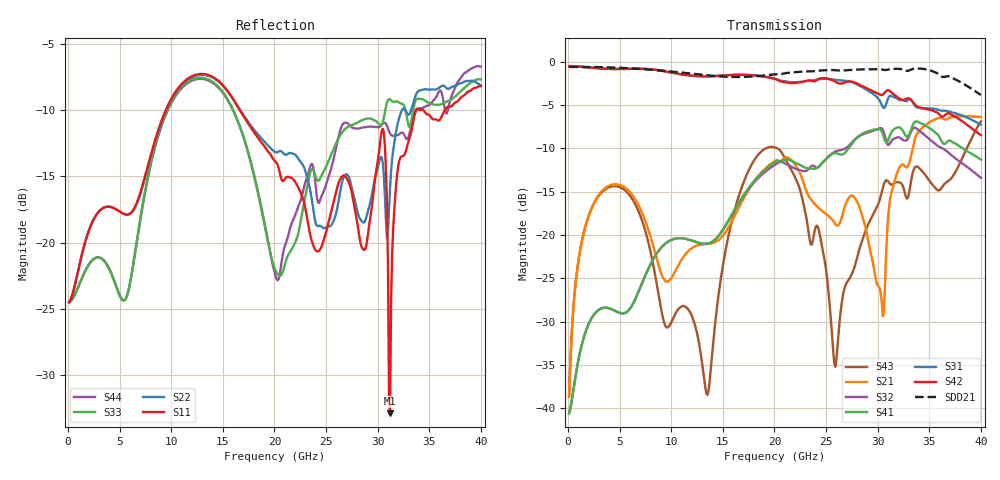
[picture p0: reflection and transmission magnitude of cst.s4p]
! BV_ts_m2_per0: ThunderScope M.2 PCIe RX lane 0 (PER0_P/N), pair via F.Cu → In3.Cu, pitch 0.53 mm
! stackup: Thunderscope_Rev5.3 from the board file and its kisi.json
! ports: 1 P in, 2 N in, 3 P out, 4 N out
! CST Studio Suite 2025.5 Release from 2025-05-30, time domain (FIT, hexahedral, PBA), 799056 mesh cells, 613 s
! mesh: {'lpw': 20, 'lpb': 20, 'minstep': 0.0, 'ratio': 20}; ports: port 1 (face); port 2 (face); port 3 (face); port 4 (face)
! interpolated from CST's 1001 samples to the case grid
# Hz S RI R 50
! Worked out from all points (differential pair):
!   400 points, 100 MHz to 40 GHz, reference 50 ohm
!   strongest paths, dB at 100 MHz, 10.1 GHz, 20.1 GHz, 30.1 GHz, 40 GHz:
!     S42: -0.5, -1.3, -2.0, -3.7, -8.5
!     S31: -0.5, -1.3, -2.0, -4.3, -7.3
!     S41: -40.6, -20.5, -11.5, -7.8, -11.3
!     S32: -40.6, -20.5, -11.9, -7.8, -13.4
!     S21: -38.6, -24.8, -11.4, -26.0, -6.4
!     S43: -38.6, -29.8, -9.9, -16.3, -6.9
!   taken as a pair (ports 2,1 in; 4,3 out), SDD21 dB: -0.6, -1.2, -1.5, -0.9, -3.9
!   lowest |S11| = -32.9 dB at 31.2 GHz (marker M1), VSWR 1.05, Z = 49.7 + j2.25 ohm
!   |S11| at or under -10 dB: start of sweep to 9.466 GHz; 16.64 GHz to 33.69 GHz (17.05 GHz wide, 67.7 % of centre); 34.43 GHz to 36.52 GHz (2.091 GHz wide, 5.89 % of centre)
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1e8  -0.0593 0.00741  0.00948 0.00688  0.9397 -0.037  0.00908 -0.00233
     0.00953 0.00681  -0.0593 0.00751  0.00909 -0.00234  0.9396 -0.037
     0.9397 -0.037  0.00908 -0.00233  -0.0592 0.00692  0.0095 0.00688
     0.00906 -0.0023  0.9397 -0.0371  0.00952 0.00685  -0.0592 0.00695
8e9  0.1012 0.1874  0.0332 -0.091  -0.8992 -0.0734  -0.0126 0.0667
     0.0332 -0.0911  0.0996 0.1854  -0.0138 0.0666  -0.8998 -0.0728
     -0.8992 -0.0734  -0.0138 0.0666  -0.0996 0.1719  0.0256 -0.0752
     -0.0126 0.0667  -0.8998 -0.0728  0.0256 -0.0752  -0.0977 0.17
1.62e10  0.2576 -0.2183  -0.1182 0.0572  0.8256 0.1457  0.0574 -0.1303
         -0.1183 0.057  0.2666 -0.2086  0.0601 -0.1279  0.8264 0.1419
         0.8255 0.1457  0.0601 -0.1279  -0.0871 -0.2906  0.0224 0.1417
         0.0574 -0.1303  0.8264 0.1418  0.0224 0.1416  -0.101 -0.2853
2.47e10  -0.0653 0.0762  0.1228 -0.061  -0.7912 -0.0627  0.0476 0.2582
         0.1222 -0.0598  -0.0949 0.0628  0.0207 0.2638  -0.7989 -0.0616
         -0.7913 -0.0635  0.0213 0.2627  0.0293 0.1815  -0.00597 -0.0796
         0.0473 0.2571  -0.7987 -0.0623  -0.00571 -0.0798  0.0524 0.1451
3.05e10  0.2607 0.0665  0.0331 0.00633  0.3396 0.4251  0.0759 -0.3737
         0.0331 0.00733  0.1649 0.1114  0.1015 -0.3907  0.3759 0.5218
         0.3422 0.4248  0.1025 -0.3904  0.2817 -0.0486  0.1758 0.0604
         0.0763 -0.3735  0.3765 0.5228  0.177 0.0599  0.2586 -0.112
3.12e10  -0.00243 0.0226  -0.1438 0.0717  0.4727 0.4221  0.0307 -0.3752
         -0.1428 0.0726  0.0439 0.1554  0.0208 -0.3359  0.5488 0.3908
         0.475 0.4199  0.022 -0.3367  0.3148 -0.1468  0.1955 -0.0163
         0.0305 -0.3759  0.5497 0.3908  0.196 -0.0176  0.2093 -0.1505
4e10  0.3795 -0.0955  -0.2398 -0.4143  -0.3861 -0.1969  0.2523 0.1026
      -0.2385 -0.4145  0.2933 -0.2553  0.1456 0.1561  -0.3258 -0.1887
      -0.3856 -0.1966  0.1459 0.1562  -0.3777 0.1669  0.1592 0.4232
      0.2516 0.1029  -0.3256 -0.1887  0.159 0.4229  -0.4134 0.2047
